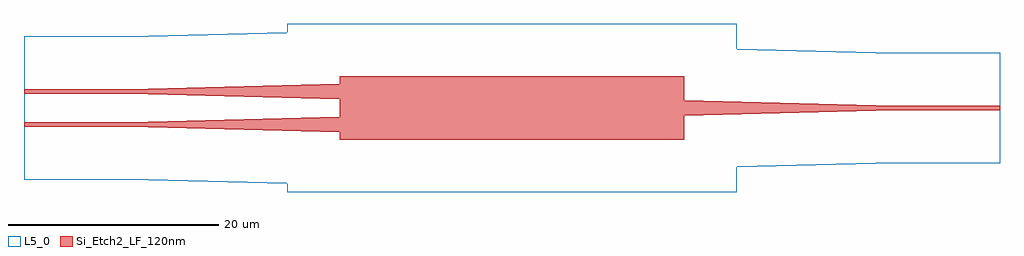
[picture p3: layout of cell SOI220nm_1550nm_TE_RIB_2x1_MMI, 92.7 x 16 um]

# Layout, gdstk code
import gdstk
lib = gdstk.Library(unit=1e-6, precision=1e-09)
def R(c, l, rs):  # rectangles x0, y0, x1, y1
    for r in rs: c.add(gdstk.rectangle(r[:2], r[2:], *l))
def P(c, l, *ps):  # polygons
    for p in ps: c.add(gdstk.Polygon(p, *l))
Si_Etch2_LF_120nm = (3, 0)
L5_0 = (5, 0)

soi220nm_1550nm_te_rib_2 = lib.new_cell('SOI220nm_1550nm_TE_RIB_2x1_MMI')
R(soi220nm_1550nm_te_rib_2, Si_Etch2_LF_120nm, [(-16,-3,16.7,3), (-46,-1.795,-36,-1.345), (36.7,-0.225,46.7,0.225), (-46,1.345,-36,1.795)])
P(soi220nm_1550nm_te_rib_2, Si_Etch2_LF_120nm, [(-16,0.82),(-36,1.345),(-36,1.795),(-16,2.32)],
  [(-16,-2.32),(-36,-1.795),(-36,-1.345),(-16,-0.82)],
  [(16.7,-0.75),(16.7,0.75),(36.7,0.225),(36.7,-0.225)])
P(soi220nm_1550nm_te_rib_2, L5_0, [(-21,-8),(-21,-7.19),(-36.055,-6.795),(-46,-6.795),(-46,6.795),(-36.055,6.795),(-21,7.19),(-21,8),(21.7,8),(21.7,5.62),(36.755,5.225),(46.7,5.225),(46.7,-5.225),(36.755,-5.225),(21.7,-5.62),(21.7,-8)])

lib.write_gds('SOI220nm_1550nm_TE_RIB_2x1_MMI.gds')
